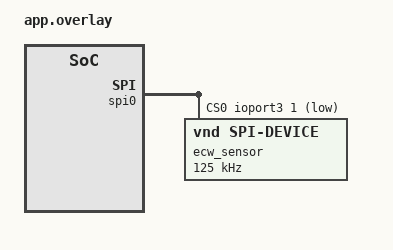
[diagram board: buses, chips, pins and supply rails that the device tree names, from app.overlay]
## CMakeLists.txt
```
# SPDX-License-Identifier: MIT
cmake_minimum_required(VERSION 3.20.0)
find_package(Zephyr REQUIRED HINTS $ENV{ZEPHYR_BASE})
project(ecw_ra6_demo)
target_sources(app PRIVATE src/main.c)
```

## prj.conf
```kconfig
CONFIG_SERIAL=y
CONFIG_CONSOLE=y
CONFIG_UART_CONSOLE=y
CONFIG_UART_INTERRUPT_DRIVEN=y
CONFIG_SHELL=y
CONFIG_SHELL_BACKEND_SERIAL=y
CONFIG_SHELL_PROMPT_UART=""
CONFIG_SHELL_VT100_COMMANDS=n
CONFIG_SHELL_VT100_COLORS=n
CONFIG_SHELL_ECHO_STATUS=n
CONFIG_BOOT_BANNER=n
CONFIG_MAIN_STACK_SIZE=2048
CONFIG_SHELL_STACK_SIZE=2048
CONFIG_BUILD_OUTPUT_HEX=y
```

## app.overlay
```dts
/*
 * ECW HIL sensor on the FPB-RA6E2 Arduino header J1 (SPI0, the board's D10-D13 pins), ECW prod
 * wiring (ECW_Prod_mapping.xlsx, RA6E2 row; the sheet lists the board's own MISO/MOSI) - unswapped:
 *   J1-5 D12 P110 MISOA (MCU input), J1-4 D11 P109 MOSIA (MCU output),
 *   J1-6 D13 P111 RSPCKA, J1-3 D10 P301 SS (driven as a GPIO, cs-gpios)
 * Pins from the FPB-RA6E2 v1 User's Manual. The board's default SPI0 pins drive SSLA0 in hardware;
 * here CS is a GPIO so the 2 us CS setup/hold of the gen-2 sketches can be kept.
 */
&pinctrl {
	spi0_ecw: spi0_ecw {
		group1 {
			/* MISO MOSI RSPCK */
			psels = <RA_PSEL(RA_PSEL_SPI, 1, 10)>,
				<RA_PSEL(RA_PSEL_SPI, 1, 9)>,
				<RA_PSEL(RA_PSEL_SPI, 1, 11)>;
		};
	};
};

&spi0 {
	pinctrl-0 = <&spi0_ecw>;
	pinctrl-names = "default";
	cs-gpios = <&ioport3 1 GPIO_ACTIVE_LOW>;
	status = "okay";

	ecw_sensor: ecw-sensor@0 {
		compatible = "vnd,spi-device";
		reg = <0>;
		spi-max-frequency = <125000>;		/* gen-2 sketches bit-bang at ~100-200 kHz */
	};
};
```

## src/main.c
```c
/* SPDX-License-Identifier: MIT */
#include <string.h>
#include <zephyr/kernel.h>
#include <zephyr/drivers/gpio.h>
#include <zephyr/shell/shell.h>

static const struct gpio_dt_spec led = GPIO_DT_SPEC_GET(DT_ALIAS(led0), gpios);
static bool ready;
static volatile bool blinking;
static struct k_mutex led_mutex;

static int cmd_led(const struct shell *sh, size_t argc, char **argv)
{
    ARG_UNUSED(argc);
    if (!ready || (strcmp(argv[1], "on") && strcmp(argv[1], "off") && strcmp(argv[1], "blink"))) {
        shell_error(sh, "ECW_LED_ERROR not ready or invalid state");
        return -EINVAL;
    }
    k_mutex_lock(&led_mutex, K_FOREVER);
    blinking = !strcmp(argv[1], "blink");
    bool on = !strcmp(argv[1], "on") || blinking;
    int rc = gpio_pin_set_dt(&led, on);
    k_mutex_unlock(&led_mutex);
    if (rc) { return rc; }
    if (blinking) { shell_print(sh, "ECW_LED BLINK 50 %s", argv[2]); }
    else { shell_print(sh, "ECW_LED %s %s", on ? "ON" : "OFF", argv[2]); }
    return 0;
}

SHELL_CMD_ARG_REGISTER(led, NULL, "led on|off|blink nonce; blink toggles every 50 ms", cmd_led, 3, 0);

int main(void)
{
    k_mutex_init(&led_mutex);
    ready = gpio_is_ready_dt(&led) && gpio_pin_configure_dt(&led, GPIO_OUTPUT_INACTIVE) == 0;
    while (1) {
        k_msleep(50);
        k_mutex_lock(&led_mutex, K_FOREVER);
        if (blinking && ready) { gpio_pin_toggle_dt(&led); }
        k_mutex_unlock(&led_mutex);
    }
    return 0;
}
```
